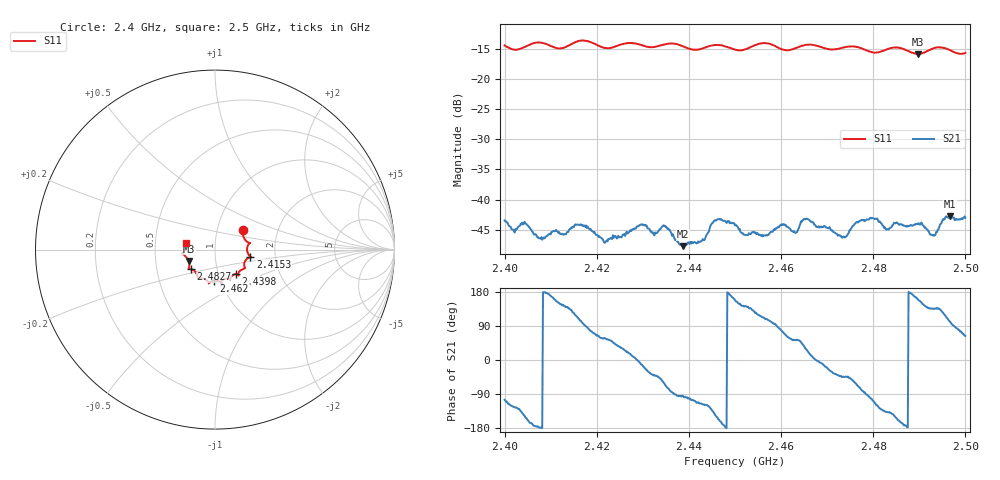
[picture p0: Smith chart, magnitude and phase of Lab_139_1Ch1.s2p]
# Hz S RI R 50
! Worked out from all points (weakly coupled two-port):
!   601 points, 2.4 GHz to 2.5 GHz, reference 50 ohm
!   highest |S21| = -42.79 dB at 2.4967 GHz (marker M1); lowest = -47.7 dB at 2.4387 GHz (marker M2)
!   lowest |S11| = -15.9 dB at 2.4897 GHz (marker M3), VSWR 1.38, Z = 36.9 - j4.8 ohm
!   |S11| at or under -10 dB: start of sweep to end of sweep
!   S12 and S22 are empty: the file has one direction only
!   S11 on the Smith chart (normalised r, x): 2.4 GHz: 1.33, +0.29; 2.4153 GHz: 1.48, -0.12; 2.4398 GHz: 1.21, -0.34; 2.462 GHz: 0.93, -0.33; 2.4827 GHz: 0.75, -0.17; 2.5 GHz: 0.72, +0.06
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2.4e9  0.1554 0.1068  -0.00173 -0.00649  0 0  0 0
2.407833e9  0.1955 0.0374  -0.00473 -0.000143  0 0  0 0
2.415333e9  0.1969 -0.0391  -0.003 0.00545  0 0  0 0
2.416667e9  0.2027 -0.0433  -0.00117 0.00608  0 0  0 0
2.421833e9  0.1683 -0.0626  0.00239 0.00369  0 0  0 0
2.429667e9  0.1563 -0.1084  0.00609 -0.0013  0 0  0 0
2.433333e9  0.13 -0.134  0.00393 -0.0038  0 0  0 0
2.438667e9  0.1246 -0.1378  -0.000294 -0.0041  0 0  0 0
2.439833e9  0.1152 -0.136  -0.000893 -0.00434  0 0  0 0
2.446e9  0.0842 -0.1709  -0.00585 -0.00339  0 0  0 0
2.45e9  0.0646 -0.162  -0.00568 0.00224  0 0  0 0
2.452333e9  0.042 -0.1704  -0.00402 0.0031  0 0  0 0
2.462e9  -0.00543 -0.1734  0.00316 0.00476  0 0  0 0
2.466667e9  -0.0348 -0.1881  0.00644 0.00122  0 0  0 0
2.473667e9  -0.0865 -0.1602  0.00351 -0.00347  0 0  0 0
2.4775e9  -0.0978 -0.1491  0.00123 -0.00669  0 0  0 0
2.482667e9  -0.1351 -0.1087  -0.00417 -0.00389  0 0  0 0
2.483333e9  -0.1402 -0.1084  -0.0042 -0.00374  0 0  0 0
2.489667e9  -0.1473 -0.0634  -0.00586 0.00214  0 0  0 0
2.493e9  -0.1761 -0.0263  -0.0036 0.00351  0 0  0 0
2.496667e9  -0.1723 -0.0102  -0.00141 0.00711  0 0  0 0
2.5e9  -0.1589 0.0391  0.00316 0.00632  0 0  0 0
